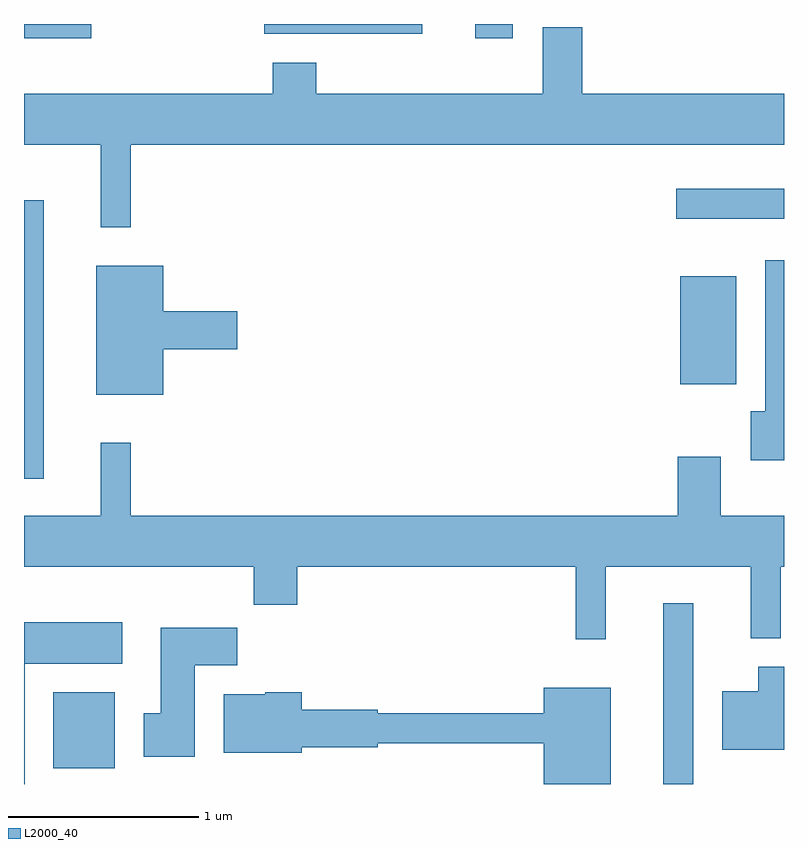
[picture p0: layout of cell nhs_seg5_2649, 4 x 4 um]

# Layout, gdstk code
import gdstk
lib = gdstk.Library(unit=1e-6, precision=1e-09)
def R(c, l, rs):  # rectangles x0, y0, x1, y1
    for r in rs: c.add(gdstk.rectangle(r[:2], r[2:], *l))
def P(c, l, *ps):  # polygons
    for p in ps: c.add(gdstk.Polygon(p, *l))
L2000_40 = (2000, 40)

nhs_seg5_2649 = lib.new_cell('nhs_seg5_2649')
R(nhs_seg5_2649, L2000_40, [(266.976,1480.072,267.134,1481.023), (263.766,1480.156,264.089,1480.554), (263.611,1481.678,263.714,1483.144), (267.066,1482.176,267.359,1482.744), (267.043,1483.046,267.611,1483.204), (263.611,1483.996,263.964,1484.072), (265.986,1483.996,266.184,1484.072), (264.876,1484.021,265.708,1484.072)])
P(nhs_seg5_2649, L2000_40, [(264.174,1483.436),(267.611,1483.436),(267.611,1483.704),(266.549,1483.704),(266.549,1484.054),(266.341,1484.054),(266.341,1483.704),(265.149,1483.704),(265.149,1483.869),(264.921,1483.869),(264.921,1483.704),(263.611,1483.704),(263.611,1483.436),(264.016,1483.436),(264.016,1483.003),(264.174,1483.003)],
  [(267.611,1482.829),(267.511,1482.829),(267.511,1482.034),(267.436,1482.034),(267.436,1481.776),(267.611,1481.776)],
  [(264.344,1482.361),(264.734,1482.361),(264.734,1482.559),(264.344,1482.559),(264.344,1482.799),(263.991,1482.799),(263.991,1482.121),(264.344,1482.121)],
  [(266.674,1481.216),(267.436,1481.216),(267.436,1480.838),(267.594,1480.838),(267.594,1481.216),(267.611,1481.216),(267.611,1481.484),(267.279,1481.484),(267.279,1481.794),(267.051,1481.794),(267.051,1481.484),(264.174,1481.484),(264.174,1481.868),(264.016,1481.868),(264.016,1481.484),(263.611,1481.484),(263.611,1481.216),(264.821,1481.216),(264.821,1481.016),(265.049,1481.016),(265.049,1481.216),(266.516,1481.216),(266.516,1480.833),(266.674,1480.833)],
  [(263.614,1480.706),(264.129,1480.706),(264.129,1480.924),(263.611,1480.924),(263.611,1480.072),(263.614,1480.072)],
  [(264.509,1480.696),(264.734,1480.696),(264.734,1480.894),(264.331,1480.894),(264.331,1480.444),(264.241,1480.444),(264.241,1480.216),(264.509,1480.216)],
  [(267.611,1480.689),(267.476,1480.689),(267.476,1480.559),(267.286,1480.559),(267.286,1480.251),(267.611,1480.251)],
  [(266.699,1480.579),(266.346,1480.579),(266.346,1480.444),(265.474,1480.444),(265.474,1480.464),(265.074,1480.464),(265.074,1480.554),(264.88,1480.554),(264.88,1480.544),(264.661,1480.544),(264.661,1480.236),(265.074,1480.236),(265.074,1480.266),(265.474,1480.266),(265.474,1480.286),(266.346,1480.286),(266.346,1480.072),(266.699,1480.072)])

lib.write_gds('nhs_seg5_2649.gds')
